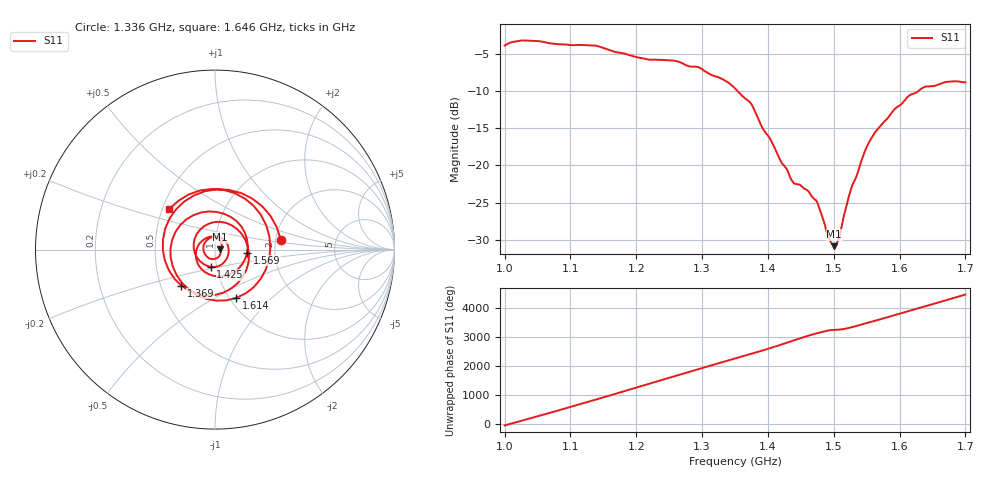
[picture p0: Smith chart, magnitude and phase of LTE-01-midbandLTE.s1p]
! NanoVNA-App
! Date: 2026-05-22 19:08:34
! Start: 1GHz Stop: 1.7GHz Points: 401
! S-Parameter data: F S11
# Hz S RI R 50
!  Frequency  S11_Real  S11_Imag
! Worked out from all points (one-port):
!   401 points, 1 GHz to 1.7 GHz, reference 50 ohm
!   lowest |S11| = -30.9 dB at 1.5 GHz (marker M1), VSWR 1.06, Z = 52.9 + j0.154 ohm
!   |S11| at or under -10 dB: 1.354 GHz to 1.628 GHz (274.4 MHz wide, 18.4 % of centre)
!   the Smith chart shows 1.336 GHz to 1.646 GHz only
!   S11 on the Smith chart (normalised r, x): 1.336 GHz: 2.13, +0.27; 1.369 GHz: 0.64, -0.28; 1.425 GHz: 0.94, -0.18; 1.569 GHz: 1.43, -0.05; 1.614 GHz: 1.08, -0.63; 1.646 GHz: 0.54, +0.28
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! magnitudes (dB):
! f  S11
! 1 GHz  -3.9
! 1.03 GHz  -3.2
! 1.087 GHz  -3.7
! 1.138 GHz  -3.9
! 1.175 GHz  -4.8
! 1.262 GHz  -6.0
! 1.296 GHz  -6.8
! 1.336 GHz  -8.6
! 1.35 GHz  -9.6
! 1.369 GHz  -11.2
! 1.376 GHz  -12.0
! 1.392 GHz  -15.0
! 1.425 GHz  -20.1
! 1.438 GHz  -22.2
! 1.46 GHz  -23.4
! 1.472 GHz  -24.6
! 1.48 GHz  -26.1
! 1.492 GHz  -29.5
! 1.5 GHz  -30.9
! 1.508 GHz  -29.8
! 1.525 GHz  -23.6
! 1.55 GHz  -17.6
! 1.569 GHz  -14.9
! 1.613 GHz  -10.8
! 1.614 GHz  -10.6
! 1.646 GHz  -9.3
! 1.675 GHz  -8.7
! 1.7 GHz  -8.8
